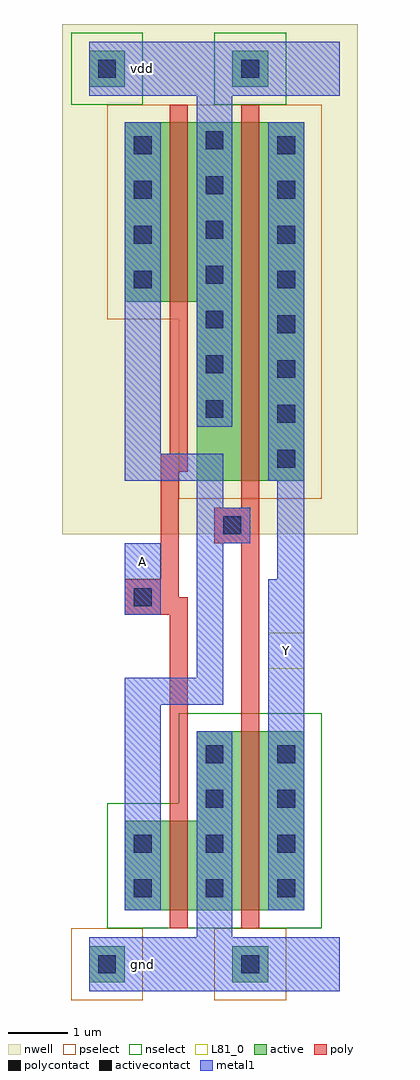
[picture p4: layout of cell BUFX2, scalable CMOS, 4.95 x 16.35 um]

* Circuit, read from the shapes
.subckt BUFX2 A Y gnd vdd
M1 gnd A n1 gnd nfet w=1.5u l=0.3u
M2 Y n1 gnd gnd nfet w=3u l=0.3u
M3 vdd A n1 vdd pfet w=3u l=0.3u
M4 Y n1 vdd vdd pfet w=6u l=0.3u
.ends

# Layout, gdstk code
import gdstk
lib = gdstk.Library(unit=1e-6, precision=1e-09)
def R(c, l, rs):  # rectangles x0, y0, x1, y1
    for r in rs: c.add(gdstk.rectangle(r[:2], r[2:], *l))
def A(c, l, x, y, w, h, nx, ny, dx, dy):  # array of equal rectangles
    R(c, l, [(x+i*dx, y+j*dy, x+i*dx+w, y+j*dy+h) for i in range(nx) for j in range(ny)])
nwell = (42, 0)
active = (43, 0)
pselect = (44, 0)
nselect = (45, 0)
poly = (46, 0)
polycontact = (47, 0)
activecontact = (48, 0)
metal1 = (49, 0)
L81_0 = (81, 0)

bufx2 = lib.new_cell('BUFX2')
R(bufx2, nwell, [(-0.75,7.2,4.2,15.75)])
R(bufx2, active, [(-0.3,-0.3,0.3,0.3), (2.1,-0.3,2.7,0.3), (0.3,0.9,3.3,2.4), (1.5,2.4,3.3,3.9), (1.5,8.1,3.3,11.1), (0.3,11.1,3.3,14.1), (-0.3,14.7,0.3,15.3), (2.1,14.7,2.7,15.3)])
R(bufx2, pselect, [(-0.6,-0.6,0.6,0.6), (1.8,-0.6,3,0.6), (1.2,7.8,3.6,10.8), (0,10.8,3.6,14.4)])
R(bufx2, nselect, [(0,0.6,3.6,2.7), (1.2,2.7,3.6,4.2), (-0.6,14.4,0.6,15.6), (1.8,14.4,3,15.6)])
R(bufx2, poly, [(1.05,0.6,1.35,5.85), (2.25,0.6,2.55,7.05), (0.3,5.85,1.35,6.15), (0.3,6.15,1.2,6.45), (0.9,6.45,1.2,8.25), (1.8,7.05,2.55,7.65), (2.25,7.65,2.55,14.4), (0.9,8.25,1.35,8.55), (1.05,8.55,1.35,14.4)])
R(bufx2, polycontact, [(0.45,6,0.75,6.3), (1.95,7.2,2.25,7.5)])
A(bufx2, activecontact, 0.45, 1.12, 0.3, 0.3, 3, 2, 1.2, 0.75)
A(bufx2, activecontact, 2.85, 8.32, 0.3, 0.3, 1, 8, 0, 0.75)
A(bufx2, activecontact, 1.65, 9.15, 0.3, 0.3, 1, 7, 0, 0.75)
A(bufx2, activecontact, 0.45, 11.32, 0.3, 0.3, 1, 4, 0, 0.75)
R(bufx2, activecontact, [(-0.15,-0.15,0.15,0.15), (2.25,-0.15,2.55,0.15), (1.65,2.62,1.95,2.92), (2.85,2.62,3.15,2.92), (1.65,3.37,1.95,3.67), (2.85,3.37,3.15,3.67), (-0.15,14.85,0.15,15.15), (2.25,14.85,2.55,15.15)])
R(bufx2, metal1, [(-0.3,-0.45,3.9,0.45), (1.5,0.45,2.1,3.9), (0.3,0.9,0.9,4.35), (2.7,0.9,3.3,6.45), (0.3,4.35,1.95,4.8), (1.5,4.8,1.95,7.05), (0.3,5.85,0.9,7.05), (2.85,6.45,3.3,8.1), (1.5,7.05,2.4,7.65), (1.5,7.65,1.95,8.1), (0.3,8.1,1.95,8.55), (2.7,8.1,3.3,14.1), (0.3,8.55,0.9,14.1), (1.5,9,2.1,14.55), (-0.3,14.55,3.9,15.45)])
R(bufx2, L81_0, [(2.7,4.95,3.3,5.55), (0.3,6.45,0.9,7.05)])
bufx2.add(gdstk.Label('vdd', (0.6,15), layer=109, texttype=0))
bufx2.add(gdstk.Label('gnd', (0.6,0), layer=109, texttype=0))
bufx2.add(gdstk.Label('A', (0.6,6.75), layer=109, texttype=0))
bufx2.add(gdstk.Label('Y', (3,5.25), layer=109, texttype=0))

lib.write_gds('BUFX2.gds')
